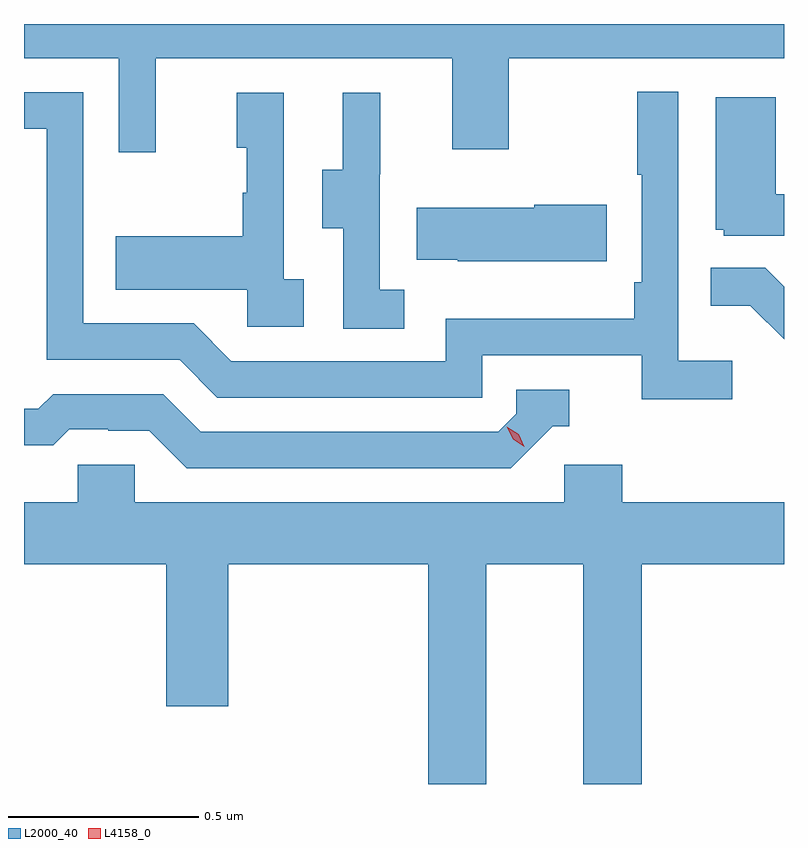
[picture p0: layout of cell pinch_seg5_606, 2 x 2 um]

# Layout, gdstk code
import gdstk
lib = gdstk.Library(unit=1e-6, precision=1e-09)
def P(c, l, *ps):  # polygons
    for p in ps: c.add(gdstk.Polygon(p, *l))
L2000_40 = (2000, 40)
L4158_0 = (4158, 0)

pinch_seg5_606 = lib.new_cell('pinch_seg5_606')
P(pinch_seg5_606, L2000_40, [(1112.033,864.752),(1112.813,864.752),(1112.813,864.513),(1112.961,864.513),(1112.961,864.752),(1113.686,864.752),(1113.686,864.842),(1111.686,864.842),(1111.686,864.752),(1111.935,864.752),(1111.935,864.504),(1112.033,864.504)],
  [(1113.55,863.956),(1113.408,863.956),(1113.408,864.664),(1113.3,864.664),(1113.3,864.445),(1113.312,864.445),(1113.312,864.163),(1113.292,864.163),(1113.292,864.067),(1112.796,864.067),(1112.796,863.955),(1112.232,863.955),(1112.133,864.054),(1111.842,864.054),(1111.842,864.663),(1111.686,864.663),(1111.686,864.567),(1111.746,864.567),(1111.746,863.958),(1112.096,863.958),(1112.195,863.859),(1112.892,863.859),(1112.892,863.97),(1113.311,863.97),(1113.311,863.854),(1113.55,863.854)],
  [(1112.422,864.17),(1112.37,864.17),(1112.37,864.661),(1112.246,864.661),(1112.246,864.516),(1112.272,864.516),(1112.272,864.398),(1112.262,864.398),(1112.262,864.283),(1111.927,864.283),(1111.927,864.143),(1112.274,864.143),(1112.274,864.045),(1112.422,864.045)],
  [(1112.686,864.143),(1112.622,864.143),(1112.622,864.447),(1112.624,864.447),(1112.624,864.661),(1112.525,864.661),(1112.525,864.459),(1112.471,864.459),(1112.471,864.304),(1112.526,864.304),(1112.526,864.04),(1112.686,864.04)],
  [(1113.686,864.394),(1113.664,864.394),(1113.664,864.649),(1113.506,864.649),(1113.506,864.3),(1113.528,864.3),(1113.528,864.285),(1113.686,864.285)],
  [(1113.22,864.366),(1113.029,864.366),(1113.029,864.358),(1112.719,864.358),(1112.719,864.221),(1112.827,864.221),(1112.827,864.218),(1113.22,864.218)],
  [(1113.686,864.151),(1113.637,864.2),(1113.493,864.2),(1113.493,864.101),(1113.597,864.101),(1113.686,864.012)],
  [(1113.078,863.784),(1113.121,863.784),(1113.121,863.88),(1112.982,863.88),(1112.982,863.817),(1112.934,863.769),(1112.151,863.769),(1112.052,863.868),(1111.763,863.868),(1111.724,863.829),(1111.686,863.829),(1111.686,863.733),(1111.763,863.733),(1111.805,863.775),(1111.908,863.775),(1111.908,863.772),(1112.015,863.772),(1112.114,863.673),(1112.967,863.673)],
  [(1112.902,863.42),(1113.158,863.42),(1113.158,862.842),(1113.311,862.842),(1113.311,863.42),(1113.686,863.42),(1113.686,863.584),(1113.26,863.584),(1113.26,863.682),(1113.108,863.682),(1113.108,863.584),(1111.977,863.584),(1111.977,863.682),(1111.827,863.682),(1111.827,863.584),(1111.686,863.584),(1111.686,863.42),(1112.06,863.42),(1112.06,863.046),(1112.224,863.046),(1112.224,863.42),(1112.75,863.42),(1112.75,862.842),(1112.902,862.842)])
P(pinch_seg5_606, L4158_0, [(1113.003,863.729),(1112.973,863.749),(1112.957,863.782),(1112.957,863.782),(1112.957,863.782),(1112.988,863.762),(1113.003,863.73),(1113.003,863.729)])

lib.write_gds('pinch_seg5_606.gds')
